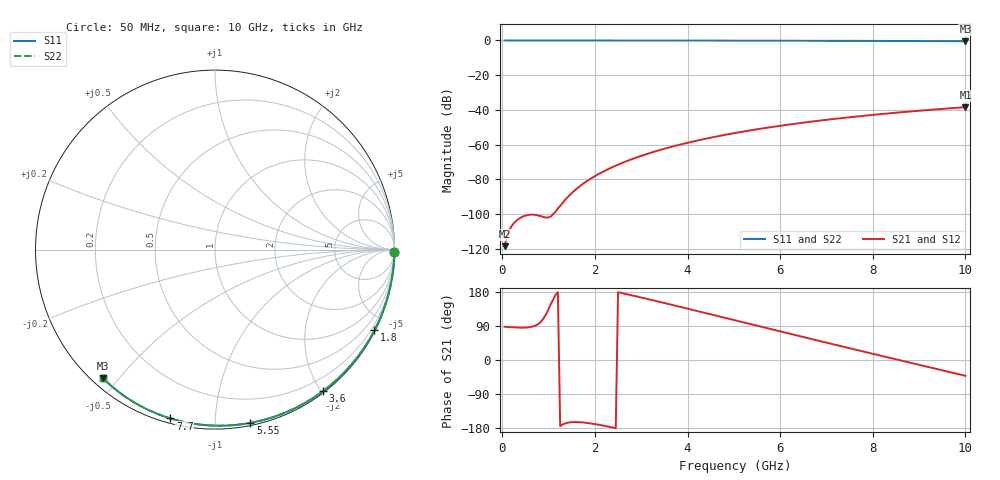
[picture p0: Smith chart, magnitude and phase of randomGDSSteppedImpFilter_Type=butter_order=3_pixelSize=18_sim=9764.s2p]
! freq	dB(S11)	phase(S11)	dB(S12)	phase(S12)
!  dB(S21)	phase(S21)	dB(S22)	phase(S22)
!S-par simulation data
#  GHz  S  DB  R 50
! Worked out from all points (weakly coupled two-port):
!   200 points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, 50 MHz to 10 GHz, reference 50 ohm
!   highest |S21| = -38.42 dB at 10 GHz (marker M1); lowest = -118.5 dB at 50 MHz (marker M2)
!   lowest |S11| = -0.4 dB at 10 GHz (marker M3), VSWR 39.07, Z = 1.54 - j22.7 ohm
!   |S11| at or under -10 dB: nowhere
!   |S22| runs from -0.4 to 0.0 dB; largest |S21 - S12| = 0
!   S11 on the Smith chart (normalised r, x): 50 MHz: open; 1.8 GHz: 0.04, -4.19; 3.6 GHz: 0.02, -2.03; 5.55 GHz: 0.02, -1.22; 7.7 GHz: 0.02, -0.77; 10 GHz: 0.03, -0.45
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0.05  -0.00 -0.8  -118.46 87.6  -118.46 87.6  -0.00 -0.8
0.9  -0.02 -13.6  -101.76 111.7  -101.76 111.7  -0.02 -13.6
1.75  -0.03 -26.1  -82.41 -164.9  -82.41 -164.9  -0.03 -26.1
1.8  -0.03 -26.9  -81.48 -165.5  -81.48 -165.5  -0.03 -26.9
1.85  -0.04 -27.6  -80.59 -166.3  -80.59 -166.3  -0.04 -27.6
1.9  -0.04 -28.3  -79.73 -167.2  -79.73 -167.2  -0.04 -28.3
2.05  -0.04 -30.5  -77.35 -170.2  -77.35 -170.2  -0.04 -30.5
2.25  -0.04 -33.4  -74.55 -174.8  -74.55 -174.8  -0.04 -33.4
2.45  -0.05 -36.3  -72.07 -179.9  -72.07 -179.9  -0.05 -36.3
2.65  -0.05 -39.2  -69.85 174.8  -69.85 174.8  -0.05 -39.2
3  -0.06 -44.1  -66.44 164.9  -66.44 164.9  -0.06 -44.1
3.4  -0.07 -49.8  -63.11 153.3  -63.11 153.3  -0.07 -49.8
3.6  -0.07 -52.5  -61.61 147.4  -61.61 147.4  -0.07 -52.5
4.3  -0.09 -62.1  -57.10 126.5  -57.10 126.5  -0.09 -62.1
5.05  -0.11 -72.0  -53.17 104.0  -53.17 104.0  -0.11 -72.0
5.55  -0.13 -78.5  -50.94 89.0  -50.94 89.0  -0.13 -78.5
6.1  -0.15 -85.4  -48.76 72.5  -48.76 72.5  -0.15 -85.4
6.7  -0.18 -92.8  -46.66 54.6  -46.66 54.6  -0.18 -92.8
7.7  -0.24 -104.8  -43.65 25.1  -43.65 25.1  -0.24 -104.8
8.35  -0.29 -112.4  -41.97 6.2  -41.97 6.2  -0.29 -112.4
9.15  -0.36 -121.5  -40.14 -17.0  -40.14 -17.0  -0.36 -121.5
10  -0.44 -131.1  -38.42 -41.7  -38.42 -41.7  -0.44 -131.1
